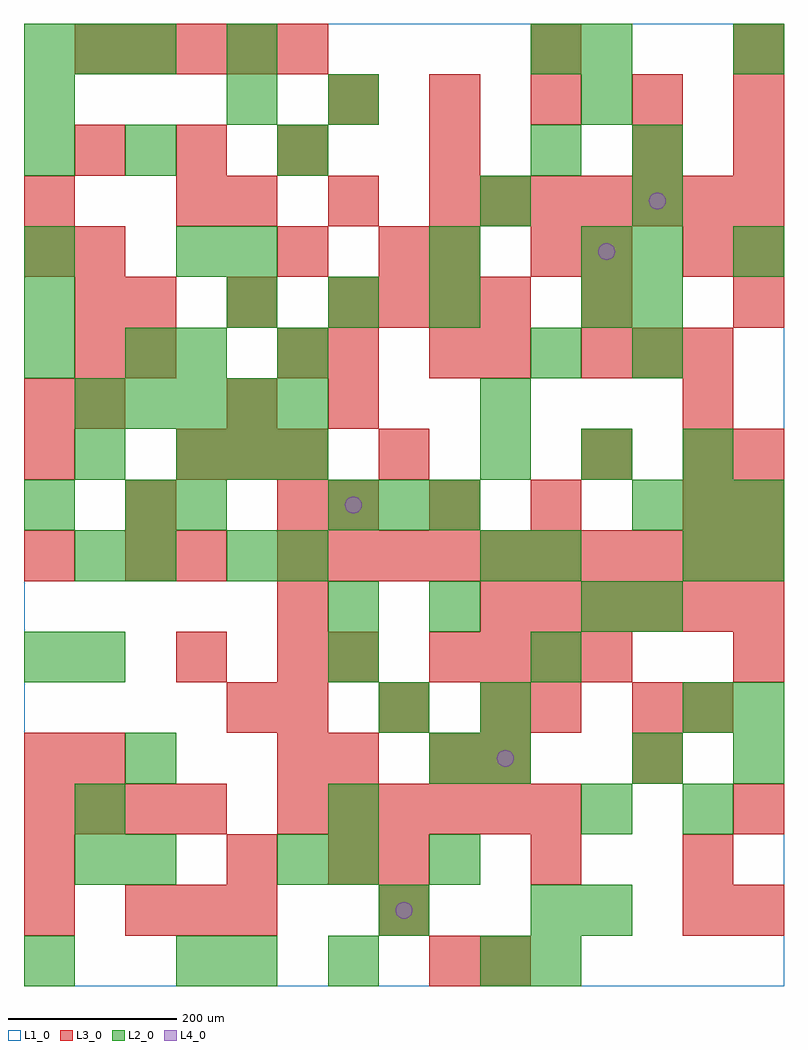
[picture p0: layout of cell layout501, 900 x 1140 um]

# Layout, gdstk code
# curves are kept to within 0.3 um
import gdstk
lib = gdstk.Library(unit=1e-6, precision=1e-09)
def R(c, l, rs):  # rectangles x0, y0, x1, y1
    for r in rs: c.add(gdstk.rectangle(r[:2], r[2:], *l))
def A(c, l, x, y, w, h, nx, ny, dx, dy):  # array of equal rectangles
    R(c, l, [(x+i*dx, y+j*dy, x+i*dx+w, y+j*dy+h) for i in range(nx) for j in range(ny)])
def P(c, l, *ps):  # polygons
    for p in ps: c.add(gdstk.Polygon(p, *l))
L1_0 = (1, 0)
L2_0 = (2, 0)
L3_0 = (3, 0)
L4_0 = (4, 0)

layout501 = lib.new_cell('layout501')
R(layout501, L1_0, [(0,0,900,1140)])
A(layout501, L2_0, 660, 60, 60, 60, 1, 3, 0, 360)
A(layout501, L2_0, 60, 180, 60, 60, 3, 1, 300, 0)
A(layout501, L2_0, 540, 300, 60, 60, 1, 3, 0, 180)
A(layout501, L2_0, 0, 360, 60, 60, 1, 3, 0, 180)
A(layout501, L2_0, 60, 360, 60, 60, 1, 3, 0, 120)
A(layout501, L2_0, 300, 480, 60, 60, 1, 3, 0, 240)
A(layout501, L2_0, 600, 480, 60, 60, 1, 3, 0, 240)
A(layout501, L2_0, 360, 540, 60, 60, 3, 1, 60, 0)
A(layout501, L2_0, 720, 540, 60, 60, 3, 1, 60, 0)
A(layout501, L2_0, 180, 600, 60, 60, 3, 1, 60, 0)
A(layout501, L2_0, 540, 600, 60, 60, 3, 1, 120, 0)
A(layout501, L2_0, 60, 660, 60, 60, 5, 1, 60, 0)
A(layout501, L2_0, 720, 720, 60, 60, 1, 5, 0, 60)
A(layout501, L2_0, 240, 780, 60, 60, 3, 1, 120, 0)
A(layout501, L2_0, 0, 1080, 60, 60, 3, 1, 60, 0)
R(layout501, L2_0, [(0,0,60,60), (180,0,240,60), (240,0,300,60), (360,0,420,60), (540,0,600,60), (600,0,660,60), (420,60,480,120), (600,60,660,120), (60,120,120,180), (120,120,180,180), (300,120,360,180), (360,120,420,180), (480,120,540,180), (780,180,840,240), (120,240,180,300), (480,240,540,300), (540,240,600,300), (720,240,780,300), (840,240,900,300), (420,300,480,360), (780,300,840,360), (840,300,900,360), (360,360,420,420), (600,360,660,420), (360,420,420,480), (480,420,540,480), (720,420,780,480), (120,480,180,540), (240,480,300,540), (780,480,840,540), (840,480,900,540), (120,540,180,600), (180,540,240,600), (120,720,180,780), (180,720,240,780), (0,780,60,840), (0,840,60,900), (180,840,240,900), (240,840,300,900), (480,840,540,900), (660,840,720,900), (840,840,900,900), (540,900,600,960), (0,960,60,1020), (120,960,180,1020), (0,1020,60,1080), (240,1020,300,1080), (360,1020,420,1080), (660,1020,720,1080), (240,1080,300,1140), (600,1080,660,1140), (660,1080,720,1140), (840,1080,900,1140)])
A(layout501, L3_0, 120, 60, 60, 60, 3, 1, 60, 0)
A(layout501, L3_0, 780, 60, 60, 60, 1, 3, 0, 240)
A(layout501, L3_0, 360, 120, 60, 60, 1, 3, 0, 120)
A(layout501, L3_0, 420, 120, 60, 60, 3, 1, 180, 0)
A(layout501, L3_0, 0, 180, 60, 60, 4, 1, 60, 0)
A(layout501, L3_0, 300, 180, 60, 60, 6, 1, 60, 0)
A(layout501, L3_0, 840, 180, 60, 60, 1, 3, 0, 180)
A(layout501, L3_0, 300, 300, 60, 60, 3, 1, 120, 0)
A(layout501, L3_0, 480, 360, 60, 60, 4, 1, 60, 0)
A(layout501, L3_0, 540, 420, 60, 60, 6, 2, 60, 480)
A(layout501, L3_0, 300, 480, 60, 60, 10, 1, 60, 0)
A(layout501, L3_0, 360, 540, 60, 60, 3, 1, 120, 0)
A(layout501, L3_0, 180, 600, 60, 60, 3, 1, 60, 0)
A(layout501, L3_0, 60, 660, 60, 60, 1, 4, 0, 60)
A(layout501, L3_0, 480, 720, 60, 60, 1, 3, 0, 120)
A(layout501, L3_0, 660, 720, 60, 60, 3, 1, 60, 0)
A(layout501, L3_0, 120, 780, 60, 60, 3, 1, 120, 0)
A(layout501, L3_0, 420, 780, 60, 60, 3, 1, 60, 0)
A(layout501, L3_0, 840, 840, 60, 60, 1, 3, 0, 120)
A(layout501, L3_0, 240, 900, 60, 60, 3, 1, 120, 0)
A(layout501, L3_0, 60, 960, 60, 60, 3, 1, 120, 0)
A(layout501, L3_0, 360, 1020, 60, 60, 5, 1, 120, 0)
A(layout501, L3_0, 60, 1080, 60, 60, 5, 1, 60, 0)
R(layout501, L3_0, [(480,0,540,60), (540,0,600,60), (0,60,60,120), (420,60,480,120), (840,60,900,120), (0,120,60,180), (240,120,300,180), (0,240,60,300), (60,240,120,300), (300,240,360,300), (480,240,540,300), (540,240,600,300), (720,240,780,300), (240,300,300,360), (600,300,660,360), (720,300,780,360), (180,360,240,420), (300,360,360,420), (300,420,360,480), (0,480,60,540), (120,480,180,540), (180,480,240,540), (120,540,180,600), (300,540,360,600), (0,600,60,660), (420,600,480,660), (660,600,720,660), (780,600,840,660), (840,600,900,660), (0,660,60,720), (240,660,300,720), (360,660,420,720), (780,660,840,720), (120,720,180,780), (300,720,360,780), (360,720,420,780), (540,720,600,780), (660,780,720,840), (840,780,900,840), (0,840,60,900), (300,840,360,900), (420,840,480,900), (600,840,660,900), (660,840,720,900), (780,840,840,900), (0,900,60,960), (180,900,240,960), (720,960,780,1020), (600,1080,660,1140)])
P(layout501, L4_0, [(400,570),(399.239,573.827),(397.071,577.071),(393.827,579.239),(390,580),(386.173,579.239),(382.929,577.071),(380.761,573.827),(380,570),(380.761,566.173),(382.929,562.929),(386.173,560.761),(390,560),(393.827,560.761),(397.071,562.929),(399.239,566.173)],
  [(460,90),(459.239,93.827),(457.071,97.071),(453.827,99.239),(450,100),(446.173,99.239),(442.929,97.071),(440.761,93.827),(440,90),(440.761,86.173),(442.929,82.929),(446.173,80.761),(450,80),(453.827,80.761),(457.071,82.929),(459.239,86.173)],
  [(580,270),(579.239,273.827),(577.071,277.071),(573.827,279.239),(570,280),(566.173,279.239),(562.929,277.071),(560.761,273.827),(560,270),(560.761,266.173),(562.929,262.929),(566.173,260.761),(570,260),(573.827,260.761),(577.071,262.929),(579.239,266.173)],
  [(700,870),(699.239,873.827),(697.071,877.071),(693.827,879.239),(690,880),(686.173,879.239),(682.929,877.071),(680.761,873.827),(680,870),(680.761,866.173),(682.929,862.929),(686.173,860.761),(690,860),(693.827,860.761),(697.071,862.929),(699.239,866.173)],
  [(760,930),(759.239,933.827),(757.071,937.071),(753.827,939.239),(750,940),(746.173,939.239),(742.929,937.071),(740.761,933.827),(740,930),(740.761,926.173),(742.929,922.929),(746.173,920.761),(750,920),(753.827,920.761),(757.071,922.929),(759.239,926.173)])

lib.write_gds('layout501.gds')
